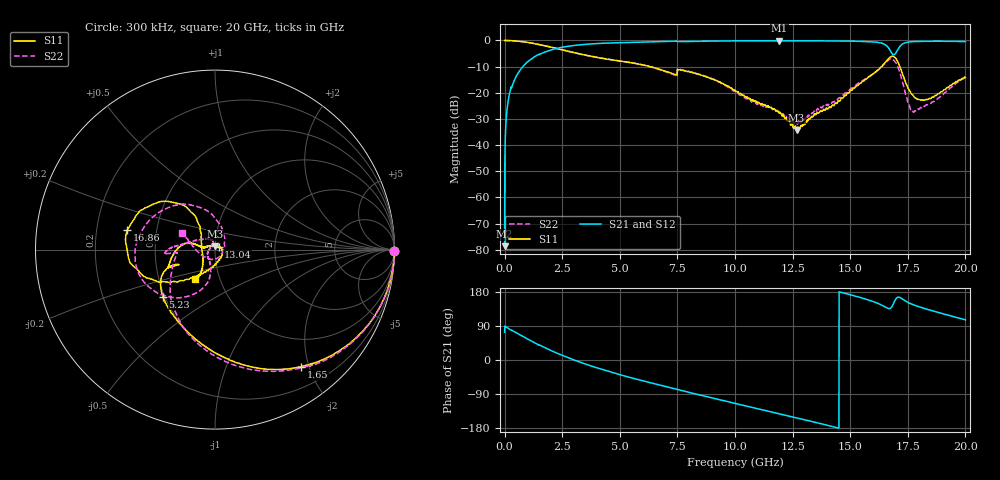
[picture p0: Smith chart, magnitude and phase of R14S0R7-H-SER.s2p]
!{R14S0R7}
!Johanson Technology Inc.
!www.johansontechnology.com
!Test Board Conditions:
!Substrate Type  RO4350B
!Substrate Thickness  20 mil
!Substrate Dk  3.66
!TL Type: GCPW
!TL Trace Width  36 mil
!TL Gap  12 mil
!Electrode orientation  Horizontal
!DUT TOPOLOGY	SERIES
!Mounting Pad LxW  26x36 mil
! Created Wed Nov 25 17:33:21 2020
! 2 Port Network Data from SP1.SP block
! freq  magS11  angS11  magS21  angS21  magS12  angS12  magS22  angS22
# khz S ma R 50
! decimated to every 10th point (10 MHz spacing) of the original 1 MHz Johanson file; values unchanged
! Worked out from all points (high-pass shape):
!   2001 points, 300 kHz to 20 GHz, reference 50 ohm
!   highest |S21| = -0.10 dB at 11.92 GHz (marker M1); lowest = -78.6 dB at 300 kHz (marker M2)
!   |S21| within 3 dB of the highest: 2.234 GHz to 16.68 GHz (14.45 GHz wide, 153 % of centre); 17.09 GHz to end of sweep
!   lowest |S11| = -34.2 dB at 12.67 GHz (marker M3), VSWR 1.04, Z = 50 + j1.94 ohm
!   |S11| at or under -10 dB: 6.329 GHz to 16.36 GHz (10.03 GHz wide, 88.4 % of centre); 17.15 GHz to end of sweep
!   |S22| runs from -31.9 to 0.0 dB; largest |S21 - S12| = 0.012
!   S11 on the Smith chart (normalised r, x): 300 kHz: open; 1.65 GHz: 0.49, -1.87; 5.23 GHz: 0.49, -0.30; 13.04 GHz: 1.04, +0.03; 16.86 GHz: 0.34, +0.10; 20 GHz: 0.76, -0.26
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300  0.9995 -0.3  0.0001174 73.3  0.0001046 65.0  0.9991 -0.3
110300  0.9985 -4.2  0.05016 85.6  0.05036 85.5  0.9985 -4.2
250300  0.9925 -9.6  0.113 79.8  0.1137 79.9  0.9925 -9.7
780300  0.9479 -26.9  0.3121 62.7  0.3118 62.7  0.9485 -27.2
1650300  0.8094 -53.7  0.5757 35.4  0.5774 35.4  0.8086 -55.0
3340300  0.5426 -95.7  0.8297 -7.1  0.8304 -7.1  0.5451 -98.2
5230300  0.3908 -138.0  0.9117 -42.6  0.9111 -42.5  0.3922 -126.8
6670300  0.2865 -158.4  0.9484 -65.2  0.9493 -65.1  0.2814 -150.4
8470300  0.2223 -177.6  0.9644 -92.3  0.9659 -92.1  0.2249 175.8
1.00003e7  0.1126 165.3  0.9826 -114.5  0.9817 -114.5  0.1055 148.6
1.19203e7  0.04104 152.0  0.9884 -142.1  0.9858 -142.0  0.04278 105.3
1.26703e7  0.01943 89.0  0.9839 -152.8  0.9833 -152.7  0.02647 144.4
1.30403e7  0.02527 37.4  0.9851 -158.2  0.9835 -158.0  0.03154 179.5
1.33403e7  0.03521 10.9  0.9837 -162.4  0.9833 -162.3  0.04087 -160.7
1.55903e7  0.1682 -122.7  0.9561 162.2  0.9587 162.2  0.177 -101.9
1.66703e7  0.4512 -166.7  0.7146 135.8  0.7045 136.1  0.427 -152.0
1.68603e7  0.5004 167.3  0.5383 146.6  0.532 147.3  0.4335 172.1
1.70503e7  0.4055 138.7  0.6462 165.2  0.6447 165.9  0.3273 130.8
1.72703e7  0.2276 121.1  0.857 160.6  0.8549 161.1  0.1595 85.3
1.77303e7  0.0886 149.6  0.9494 146.2  0.9495 145.9  0.04337 -25.0
1.84203e7  0.0776 -152.5  0.9646 132.5  0.9607 132.5  0.06174 -121.3
2e7  0.1968 -124.2  0.9515 106.0  0.9444 106.0  0.2047 152.8
